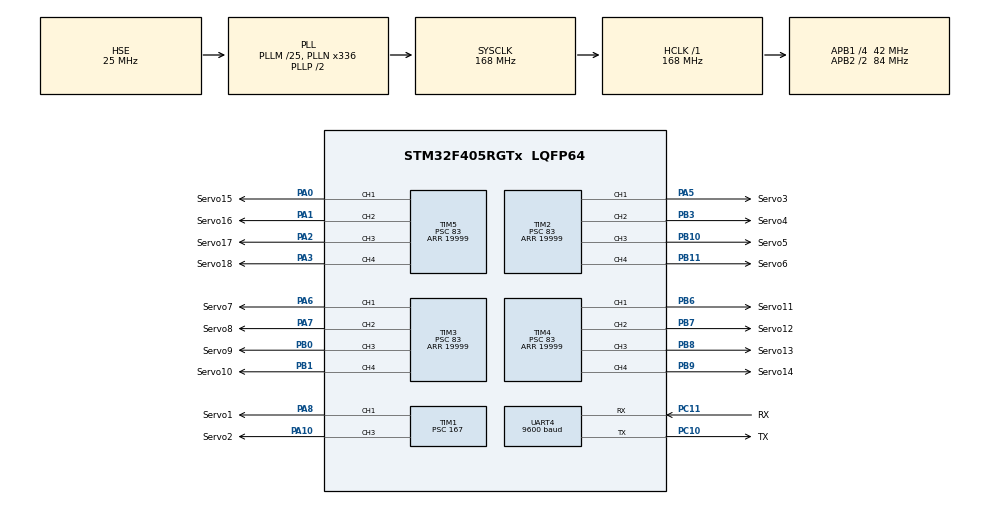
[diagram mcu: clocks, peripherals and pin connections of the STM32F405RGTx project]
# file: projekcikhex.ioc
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Mcu.Family=STM32F4
Mcu.Name=STM32F405RGTx
Mcu.Package=LQFP64
NVIC.PriorityGroup=NVIC_PRIORITYGROUP_4
NVIC.UART4_IRQn=true\:0\:0\:false\:false\:true
PA0-WKUP.GPIO_Label=Servo15
PA0-WKUP.GPIO_Speed=GPIO_SPEED_FREQ_VERY_HIGH
PA0-WKUP.Signal=S_TIM5_CH1
PA1.GPIO_Label=Servo16
PA1.GPIO_Speed=GPIO_SPEED_FREQ_VERY_HIGH
PA1.Signal=S_TIM5_CH2
PA10.GPIO_Label=Servo2
PA10.GPIO_Speed=GPIO_SPEED_FREQ_VERY_HIGH
PA10.Signal=S_TIM1_CH3
PA2.GPIO_Label=Servo17
PA2.GPIO_Speed=GPIO_SPEED_FREQ_VERY_HIGH
PA2.Signal=S_TIM5_CH3
PA3.GPIO_Label=Servo18
PA3.GPIO_Speed=GPIO_SPEED_FREQ_VERY_HIGH
PA3.Signal=S_TIM5_CH4
PA5.GPIO_Label=Servo3
PA5.GPIO_Speed=GPIO_SPEED_FREQ_VERY_HIGH
PA5.Signal=S_TIM2_CH1_ETR
PA6.GPIO_Label=Servo7
PA6.GPIO_Speed=GPIO_SPEED_FREQ_VERY_HIGH
PA6.Signal=S_TIM3_CH1
PA7.GPIO_Label=Servo8
PA7.GPIO_Speed=GPIO_SPEED_FREQ_VERY_HIGH
PA7.Signal=S_TIM3_CH2
PA8.GPIO_Label=Servo1
PA8.GPIO_Speed=GPIO_SPEED_FREQ_VERY_HIGH
PA8.Signal=S_TIM1_CH1
PB0.GPIO_Label=Servo9
PB0.GPIO_Speed=GPIO_SPEED_FREQ_VERY_HIGH
PB0.Signal=S_TIM3_CH3
PB1.GPIO_Label=Servo10
PB1.GPIO_Speed=GPIO_SPEED_FREQ_VERY_HIGH
PB1.Signal=S_TIM3_CH4
PB10.GPIO_Label=Servo5
PB10.GPIO_Speed=GPIO_SPEED_FREQ_VERY_HIGH
PB10.Signal=S_TIM2_CH3
PB11.GPIO_Label=Servo6
PB11.GPIO_Speed=GPIO_SPEED_FREQ_VERY_HIGH
PB11.Signal=S_TIM2_CH4
PB3.GPIO_Label=Servo4
PB3.GPIO_Speed=GPIO_SPEED_FREQ_VERY_HIGH
PB3.Signal=S_TIM2_CH2
PB6.GPIO_Label=Servo11
PB6.GPIO_Speed=GPIO_SPEED_FREQ_VERY_HIGH
PB6.Signal=S_TIM4_CH1
PB7.GPIO_Label=Servo12
PB7.GPIO_Speed=GPIO_SPEED_FREQ_VERY_HIGH
PB7.Signal=S_TIM4_CH2
PB8.GPIO_Label=Servo13
PB8.GPIO_Speed=GPIO_SPEED_FREQ_VERY_HIGH
PB8.Signal=S_TIM4_CH3
PB9.GPIO_Label=Servo14
PB9.GPIO_Speed=GPIO_SPEED_FREQ_VERY_HIGH
PB9.Signal=S_TIM4_CH4
PC10.GPIO_Label=TX
PC10.Mode=Asynchronous
PC10.Signal=UART4_TX
PC11.GPIO_Label=RX
PC11.Mode=Asynchronous
PC11.Signal=UART4_RX
PH0-OSC_IN.Mode=HSE-External-Clock-Source
PH0-OSC_IN.Signal=RCC_OSC_IN
PH1-OSC_OUT.Mode=HSE-External-Clock-Source
PH1-OSC_OUT.Signal=RCC_OSC_OUT
ProjectManager.HeapSize=0x200
ProjectManager.StackSize=0x400
ProjectManager.TargetToolchain=TrueSTUDIO
RCC.48MHZClocksFreq_Value=84000000
RCC.AHBFreq_Value=168000000
RCC.APB1CLKDivider=RCC_HCLK_DIV4
RCC.APB1Freq_Value=42000000
RCC.APB1TimFreq_Value=84000000
RCC.APB2CLKDivider=RCC_HCLK_DIV2
RCC.APB2Freq_Value=84000000
RCC.APB2TimFreq_Value=168000000
RCC.CortexFreq_Value=168000000
RCC.HCLKFreq_Value=168000000
RCC.HSE_VALUE=25000000
RCC.HSI_VALUE=16000000
RCC.LSE_VALUE=32768
RCC.PLLM=25
RCC.PLLN=336
RCC.PLLSourceVirtual=RCC_PLLSOURCE_HSE
RCC.SYSCLKFreq_VALUE=168000000
RCC.SYSCLKSource=RCC_SYSCLKSOURCE_PLLCLK
RCC.VCOOutputFreq_Value=336000000
SH.S_TIM1_CH1.0=TIM1_CH1,PWM Generation1 CH1
SH.S_TIM1_CH3.0=TIM1_CH3,PWM Generation3 CH3
SH.S_TIM2_CH1_ETR.0=TIM2_CH1,PWM Generation1 CH1
SH.S_TIM2_CH2.0=TIM2_CH2,PWM Generation2 CH2
SH.S_TIM2_CH3.0=TIM2_CH3,PWM Generation3 CH3
SH.S_TIM2_CH4.0=TIM2_CH4,PWM Generation4 CH4
SH.S_TIM3_CH1.0=TIM3_CH1,PWM Generation1 CH1
SH.S_TIM3_CH2.0=TIM3_CH2,PWM Generation2 CH2
SH.S_TIM3_CH3.0=TIM3_CH3,PWM Generation3 CH3
SH.S_TIM3_CH4.0=TIM3_CH4,PWM Generation4 CH4
SH.S_TIM4_CH1.0=TIM4_CH1,PWM Generation1 CH1
SH.S_TIM4_CH2.0=TIM4_CH2,PWM Generation2 CH2
SH.S_TIM4_CH3.0=TIM4_CH3,PWM Generation3 CH3
SH.S_TIM4_CH4.0=TIM4_CH4,PWM Generation4 CH4
SH.S_TIM5_CH1.0=TIM5_CH1,PWM Generation1 CH1
SH.S_TIM5_CH2.0=TIM5_CH2,PWM Generation2 CH2
SH.S_TIM5_CH3.0=TIM5_CH3,PWM Generation3 CH3
SH.S_TIM5_CH4.0=TIM5_CH4,PWM Generation4 CH4
TIM1.Channel-PWM\ Generation1\ CH1=TIM_CHANNEL_1
TIM1.Channel-PWM\ Generation3\ CH3=TIM_CHANNEL_3
TIM1.Period=19999
TIM1.Prescaler=167
TIM2.Channel-PWM\ Generation1\ CH1=TIM_CHANNEL_1
TIM2.Channel-PWM\ Generation2\ CH2=TIM_CHANNEL_2
TIM2.Channel-PWM\ Generation3\ CH3=TIM_CHANNEL_3
TIM2.Channel-PWM\ Generation4\ CH4=TIM_CHANNEL_4
TIM2.OCMode_PWM-PWM\ Generation2\ CH2=TIM_OCMODE_PWM1
TIM2.Period=19999
TIM2.Prescaler=83
TIM3.Channel-PWM\ Generation1\ CH1=TIM_CHANNEL_1
TIM3.Channel-PWM\ Generation2\ CH2=TIM_CHANNEL_2
TIM3.Channel-PWM\ Generation3\ CH3=TIM_CHANNEL_3
TIM3.Channel-PWM\ Generation4\ CH4=TIM_CHANNEL_4
TIM3.Period=19999
TIM3.Prescaler=83
TIM4.Channel-PWM\ Generation1\ CH1=TIM_CHANNEL_1
TIM4.Channel-PWM\ Generation2\ CH2=TIM_CHANNEL_2
TIM4.Channel-PWM\ Generation3\ CH3=TIM_CHANNEL_3
TIM4.Channel-PWM\ Generation4\ CH4=TIM_CHANNEL_4
TIM4.Period=19999
TIM4.Prescaler=83
TIM5.Channel-PWM\ Generation1\ CH1=TIM_CHANNEL_1
TIM5.Channel-PWM\ Generation2\ CH2=TIM_CHANNEL_2
TIM5.Channel-PWM\ Generation3\ CH3=TIM_CHANNEL_3
TIM5.Channel-PWM\ Generation4\ CH4=TIM_CHANNEL_4
TIM5.Period=19999
TIM5.Prescaler=83
UART4.BaudRate=9600
UART4.VirtualMode=Asynchronous
board=projekcikhex

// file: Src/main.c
/**
  ******************************************************************************
  * File Name          : main.c
  * Description        : Main program body
  ******************************************************************************
  *
  * COPYRIGHT(c) 2017 STMicroelectronics
  *
  * Redistribution and use in source and binary forms, with or without modification,
  * are permitted provided that the following conditions are met:
  *   1. Redistributions of source code must retain the above copyright notice,
  *      this list of conditions and the following disclaimer.
  *   2. Redistributions in binary form must reproduce the above copyright notice,
  *      this list of conditions and the following disclaimer in the documentation
  *      and/or other materials provided with the distribution.
  *   3. Neither the name of STMicroelectronics nor the names of its contributors
  *      may be used to endorse or promote products derived from this software
  *      without specific prior written permission.
  *
  * THIS SOFTWARE IS PROVIDED BY THE COPYRIGHT HOLDERS AND CONTRIBUTORS "AS IS"
  * AND ANY EXPRESS OR IMPLIED WARRANTIES, INCLUDING, BUT NOT LIMITED TO, THE
  * IMPLIED WARRANTIES OF MERCHANTABILITY AND FITNESS FOR A PARTICULAR PURPOSE ARE
  * DISCLAIMED. IN NO EVENT SHALL THE COPYRIGHT HOLDER OR CONTRIBUTORS BE LIABLE
  * FOR ANY DIRECT, INDIRECT, INCIDENTAL, SPECIAL, EXEMPLARY, OR CONSEQUENTIAL
  * DAMAGES (INCLUDING, BUT NOT LIMITED TO, PROCUREMENT OF SUBSTITUTE GOODS OR
  * SERVICES; LOSS OF USE, DATA, OR PROFITS; OR BUSINESS INTERRUPTION) HOWEVER
  * CAUSED AND ON ANY THEORY OF LIABILITY, WHETHER IN CONTRACT, STRICT LIABILITY,
  * OR TORT (INCLUDING NEGLIGENCE OR OTHERWISE) ARISING IN ANY WAY OUT OF THE USE
  * OF THIS SOFTWARE, EVEN IF ADVISED OF THE POSSIBILITY OF SUCH DAMAGE.
  *
  ******************************************************************************
  */
#include "main.h"
#include "stm32f4xx_hal.h"

TIM_HandleTypeDef htim1;
TIM_HandleTypeDef htim2;
TIM_HandleTypeDef htim3;
TIM_HandleTypeDef htim4;
TIM_HandleTypeDef htim5;

UART_HandleTypeDef huart4;

/* USER CODE BEGIN PV */
/* Private variables ---------------------------------------------------------*/
uint8_t Received;
uint8_t data[50];
uint16_t size = 0;
static int mod_state = 0;
int k=0;
int m=0;
int P=150;
int G=0;
int W=0;
int S=0;
int A=1200;
/* USER CODE END PV */

void SystemClock_Config(void);
void Error_Handler(void);
static void MX_GPIO_Init(void);
static void MX_TIM2_Init(void);
static void MX_TIM3_Init(void);
static void MX_TIM4_Init(void);
static void MX_TIM5_Init(void);
static void MX_TIM1_Init(void);
static void MX_UART4_Init(void);
void HAL_TIM_MspPostInit(TIM_HandleTypeDef *htim);

/* USER CODE BEGIN PFP */
/* Private function prototypes -----------------------------------------------*/
void HAL_UART_RxCpltCallback(UART_HandleTypeDef *huart)
	{
	if (mod_state ==  0) {
	k = atoi(&Received);
	HAL_UART_Receive_IT(&huart4, &Received, 1);
	} else if (mod_state == 1) {
	m = atoi(&Received);
	HAL_UART_Receive_IT(&huart4, &Received, 1);
	}
	mod_state = (mod_state + 1) % 2;
	}
/* USER CODE END PFP */

int main(void)
{

  /* MCU Configuration----------------------------------------------------------*/

  /* Reset of all peripherals, Initializes the Flash interface and the Systick. */
  HAL_Init();

  /* Configure the system clock */
  SystemClock_Config();

  /* Initialize all configured peripherals */
  MX_GPIO_Init();
  MX_TIM2_Init();
  MX_TIM3_Init();
  MX_TIM4_Init();
  MX_TIM5_Init();
  MX_TIM1_Init();
  MX_UART4_Init();

  /* USER CODE BEGIN 2 */

  HAL_TIM_PWM_Start(&htim5, TIM_CHANNEL_4);
  HAL_TIM_PWM_Start(&htim5, TIM_CHANNEL_3);
  HAL_TIM_PWM_Start(&htim5, TIM_CHANNEL_2);
  HAL_TIM_PWM_Start(&htim5, TIM_CHANNEL_1);
  HAL_TIM_PWM_Start(&htim4, TIM_CHANNEL_4);
  HAL_TIM_PWM_Start(&htim4, TIM_CHANNEL_3);
  HAL_TIM_PWM_Start(&htim4, TIM_CHANNEL_2);
  HAL_TIM_PWM_Start(&htim4, TIM_CHANNEL_1);
  HAL_TIM_PWM_Start(&htim3, TIM_CHANNEL_4);
  HAL_TIM_PWM_Start(&htim3, TIM_CHANNEL_3);
  HAL_TIM_PWM_Start(&htim3, TIM_CHANNEL_2);
  HAL_TIM_PWM_Start(&htim3, TIM_CHANNEL_1);
  HAL_TIM_PWM_Start(&htim2, TIM_CHANNEL_4);
  HAL_TIM_PWM_Start(&htim2, TIM_CHANNEL_3);
  HAL_TIM_PWM_Start(&htim2, TIM_CHANNEL_2);
  HAL_TIM_PWM_Start(&htim2, TIM_CHANNEL_1);
  HAL_TIM_PWM_Start(&htim1, TIM_CHANNEL_3);
  HAL_TIM_PWM_Start(&htim1, TIM_CHANNEL_1);
  HAL_UART_Receive_IT(&huart4, &Received, 1);
  /* USER CODE END 2 */

  /* Infinite loop */
  /* USER CODE BEGIN WHILE */
  while (1)
  {
if(k==0 && m==0)
 {
  TIM5->CCR4 = 1300;
  TIM5->CCR3 = 1545-G;
  TIM5->CCR2 = 1325-G;
  TIM5->CCR1 = 1500;
  TIM4->CCR4 = 1300-G;
  TIM4->CCR3 = 1300-G;
  TIM4->CCR2 = 1600;
  TIM4->CCR1 = 1250-G;
  TIM3->CCR4 = 1180-G;
  TIM3->CCR3 = 1550+G;
  TIM3->CCR2 = 1670+G;
  TIM3->CCR1 = 1350;
  TIM2->CCR4 = 1500+G;
  TIM2->CCR3 = 1600+G;
  TIM2->CCR2 = 1500;
  TIM2->CCR1 = 1550+G;
  TIM1->CCR3 = 1475+G;
  TIM1->CCR1 = 1550;
  HAL_Delay(P+100);
 }

if(k==0 && m==1)
   { // Krok do przodu
	//Sekwencja 1
	TIM2->CCR3 = 1900+G+W;
	TIM5->CCR3 = 1195-G-W;
	TIM4->CCR1 = 950-G-W;
	HAL_Delay(P);
	TIM2->CCR2 = 1100-S;
	TIM5->CCR4 = 1600+S;
	TIM4->CCR2 = 1900+S;
	HAL_Delay(P);
	TIM2->CCR3 = 1600+G;
	TIM5->CCR3 = 1545-G;
	TIM4->CCR1 = 1250-G;
	HAL_Delay(P);
	//Sekwencja 2
	TIM1->CCR3 = 1825+G+W;
	TIM3->CCR2 = 1920+G+W;
	TIM4->CCR4 = 1050-G-W;
	HAL_Delay(P);
	TIM1->CCR1 = 1200-S;
	TIM3->CCR1 = 1000-S;
	TIM5->CCR1 = 1850+S;
	HAL_Delay(P);
	TIM1->CCR3 = 1475+G;
	TIM3->CCR2 = 1670+G;
	TIM4->CCR4 = 1350-G;
	HAL_Delay(P);
	 //Reset nog
	k=0;
	m=0;
   }

  if(k==0 && m==2)
	{ //Krok w lewo
	 //Sekwencja 1
	 TIM2->CCR3 = 1900+G+W;
	 TIM5->CCR3 = 1195-G-W;
	 TIM4->CCR1 = 950-G-W;
	 HAL_Delay(P);
	 TIM2->CCR2 = 1900+S;
	 TIM5->CCR4 = 1600+S;
	 TIM4->CCR2 = 1900+S;
	 HAL_Delay(P);
	 TIM2->CCR3 = 1600+G;
	 TIM5->CCR3 = 1545-G;
	 TIM4->CCR1 = 1250-G;
	 HAL_Delay(P);
	 //Sekwencja 2
	 TIM1->CCR3 = 1825+G+W;
	 TIM3->CCR2 = 1920+G+W;
	 TIM4->CCR4 = 1050-G-W;
	 HAL_Delay(P);
	 TIM1->CCR1 = 2000+S;
	 TIM3->CCR1 = 1700+S;
	 TIM5->CCR1 = 1850+S;
	 HAL_Delay(P);
	 TIM1->CCR3 = 1475+G;
	 TIM3->CCR2 = 1670+G;
	 TIM4->CCR4 = 1350-G;
	 HAL_Delay(P);
	 //Reset nog
	 k=0;
	 m=0;
	}

  if(k==0 && m==3)
	 { //Krok w prawo
	 //Sekwencja 1
	 TIM2->CCR3 = 1900+G+W;
	 TIM5->CCR3 = 1195-G-W;
	 TIM4->CCR1 = 950-G-W;
	 HAL_Delay(P);
	 TIM2->CCR2 = 1100-S;
	 TIM5->CCR4 = 1000-S;
	 TIM4->CCR2 = 1300-S;
	 HAL_Delay(P);
	 TIM2->CCR3 = 1600+G;
	 TIM5->CCR3 = 1545-G;
	 TIM4->CCR1 = 1250-G;
	 HAL_Delay(P);
	  //Sekwencja 2
	 TIM1->CCR3 = 1825+G+W;
	 TIM3->CCR2 = 1920+G+W;
	 TIM4->CCR4 = 1050-G-W;
	 HAL_Delay(P);
	 TIM1->CCR1 = 1200-S;
	 TIM3->CCR1 = 1000-S;
	 TIM5->CCR1 = 1150-S;
	 HAL_Delay(P);
	 TIM1->CCR3 = 1475+G;
	 TIM3->CCR2 = 1670+G;
	 TIM4->CCR4 = 1350-G;
	 HAL_Delay(P);
	 //Reset nog
	 k=0;
	 m=0;
	 }

  if(k==0 && m==4)
	 {
	  if(P>=100)
	  {
		  P=P-5;
	  }
	  else
	  {
		  P=100;
	  }
	  size = sprintf(data, "%d.\n\r", P);
	  HAL_UART_Transmit_IT(&huart4, data, size);
		  k=0;
		  m=0;
	 }

  if(k==0 && m==5)
	{
	if(P>=100)
	{
	P=P+5;
	}
	else
	{
	P=100;
	}
	size = sprintf(data, "%d.\n\r", P);
	HAL_UART_Transmit_IT(&huart4, data, size);
	k=0;
	m=0;
	}
  if(k==0 && m==6)
	{
	G=G-25;
	size = sprintf(data, "%d.\n\r", G);
	HAL_UART_Transmit_IT(&huart4, data, size);
	k=0;
	m=0;
	}
  if(k==0 && m==7)
	{
	G=G+25;
	if(G>=50)
	{
	G=50;
	}
	size = sprintf(data, "%d.\n\r", G);
	HAL_UART_Transmit_IT(&huart4, data, size);
	k=0;
	m=0;
	}

  if(k==0 && m==8)
  {
	TIM3->CCR2 = 1740+300;
	HAL_Delay(200);
	TIM3->CCR3 = 1600-A;
	HAL_Delay(300);
	TIM3->CCR3 = 1600+A;
	HAL_Delay(300);
	TIM3->CCR3 = 1600-A;
	HAL_Delay(300);
	TIM3->CCR3 = 1600+A;
	HAL_Delay(300);
	TIM3->CCR3 = 1600-A;
	HAL_Delay(300);
	TIM3->CCR3 = 1600+A;
	HAL_Delay(300);
	TIM3->CCR3 = 1600-A;
	k=0;
	m=0;

  }
  if(k==0 && m==9)
  {
 	 S=S+25;
 	 size = sprintf(data, "%d.\n\r", S);
 	 HAL_UART_Transmit_IT(&huart4, data, size);
 	 k=0;
 	 m=0;
 }
  if(k==1 && m==0)
   {
  	 S=S-25;
  	 size = sprintf(data, "%d.\n\r", S);
  	 HAL_UART_Transmit_IT(&huart4, data, size);
  	 k=0;
  	 m=0;
  }
  if(k==1 && m==1)
  {
 	 W=W+25;
 	 size = sprintf(data, "%d.\n\r", W);
 	 HAL_UART_Transmit_IT(&huart4, data, size);
 	 k=0;
 	 m=0;
 }
  if(k==1 && m==2)
   {
  	 W=W-25;
  	 size = sprintf(data, "%d.\n\r", W);
  	 HAL_UART_Transmit_IT(&huart4, data, size);
  	 k=0;
  	 m=0;
  }

  /* USER CODE END WHILE */

  }

}

/** System Clock Configuration
*/
void SystemClock_Config(void)
{

  RCC_OscInitTypeDef RCC_OscInitStruct;
  RCC_ClkInitTypeDef RCC_ClkInitStruct;

    /**Configure the main internal regulator output voltage
    */
  __HAL_RCC_PWR_CLK_ENABLE();

  __HAL_PWR_VOLTAGESCALING_CONFIG(PWR_REGULATOR_VOLTAGE_SCALE1);

    /**Initializes the CPU, AHB and APB busses clocks
    */
  RCC_OscInitStruct.OscillatorType = RCC_OSCILLATORTYPE_HSE;
  RCC_OscInitStruct.HSEState = RCC_HSE_BYPASS;
  RCC_OscInitStruct.PLL.PLLState = RCC_PLL_ON;
  RCC_OscInitStruct.PLL.PLLSource = RCC_PLLSOURCE_HSE;
  RCC_OscInitStruct.PLL.PLLM = 25;
  RCC_OscInitStruct.PLL.PLLN = 336;
  RCC_OscInitStruct.PLL.PLLP = RCC_PLLP_DIV2;
  RCC_OscInitStruct.PLL.PLLQ = 4;
  if (HAL_RCC_OscConfig(&RCC_OscInitStruct) != HAL_OK)
  {
    Error_Handler();
  }

    /**Initializes the CPU, AHB and APB busses clocks
    */
  RCC_ClkInitStruct.ClockType = RCC_CLOCKTYPE_HCLK|RCC_CLOCKTYPE_SYSCLK
                              |RCC_CLOCKTYPE_PCLK1|RCC_CLOCKTYPE_PCLK2;
  RCC_ClkInitStruct.SYSCLKSource = RCC_SYSCLKSOURCE_PLLCLK;
  RCC_ClkInitStruct.AHBCLKDivider = RCC_SYSCLK_DIV1;
  RCC_ClkInitStruct.APB1CLKDivider = RCC_HCLK_DIV4;
  RCC_ClkInitStruct.APB2CLKDivider = RCC_HCLK_DIV2;

  if (HAL_RCC_ClockConfig(&RCC_ClkInitStruct, FLASH_LATENCY_5) != HAL_OK)
  {
    Error_Handler();
  }

    /**Configure the Systick interrupt time
    */
  HAL_SYSTICK_Config(HAL_RCC_GetHCLKFreq()/1000);

    /**Configure the Systick
    */
  HAL_SYSTICK_CLKSourceConfig(SYSTICK_CLKSOURCE_HCLK);

  /* SysTick_IRQn interrupt configuration */
  HAL_NVIC_SetPriority(SysTick_IRQn, 0, 0);
}

/* TIM1 init function */
static void MX_TIM1_Init(void)
{

  TIM_MasterConfigTypeDef sMasterConfig;
  TIM_OC_InitTypeDef sConfigOC;
  TIM_BreakDeadTimeConfigTypeDef sBreakDeadTimeConfig;

  htim1.Instance = TIM1;
  htim1.Init.Prescaler = 167;
  htim1.Init.CounterMode = TIM_COUNTERMODE_UP;
  htim1.Init.Period = 19999;
  htim1.Init.ClockDivision = TIM_CLOCKDIVISION_DIV1;
  htim1.Init.RepetitionCounter = 0;
  if (HAL_TIM_PWM_Init(&htim1) != HAL_OK)
  {
    Error_Handler();
  }

  sMasterConfig.MasterOutputTrigger = TIM_TRGO_RESET;
  sMasterConfig.MasterSlaveMode = TIM_MASTERSLAVEMODE_DISABLE;
  if (HAL_TIMEx_MasterConfigSynchronization(&htim1, &sMasterConfig) != HAL_OK)
  {
    Error_Handler();
  }

  sConfigOC.OCMode = TIM_OCMODE_PWM1;
  sConfigOC.Pulse = 0;
  sConfigOC.OCPolarity = TIM_OCPOLARITY_HIGH;
  sConfigOC.OCNPolarity = TIM_OCNPOLARITY_HIGH;
  sConfigOC.OCFastMode = TIM_OCFAST_DISABLE;
  sConfigOC.OCIdleState = TIM_OCIDLESTATE_RESET;
  sConfigOC.OCNIdleState = TIM_OCNIDLESTATE_RESET;
  if (HAL_TIM_PWM_ConfigChannel(&htim1, &sConfigOC, TIM_CHANNEL_1) != HAL_OK)
  {
    Error_Handler();
  }

  if (HAL_TIM_PWM_ConfigChannel(&htim1, &sConfigOC, TIM_CHANNEL_3) != HAL_OK)
  {
    Error_Handler();
  }

  sBreakDeadTimeConfig.OffStateRunMode = TIM_OSSR_DISABLE;
  sBreakDeadTimeConfig.OffStateIDLEMode = TIM_OSSI_DISABLE;
  sBreakDeadTimeConfig.LockLevel = TIM_LOCKLEVEL_OFF;
  sBreakDeadTimeConfig.DeadTime = 0;
  sBreakDeadTimeConfig.BreakState = TIM_BREAK_DISABLE;
  sBreakDeadTimeConfig.BreakPolarity = TIM_BREAKPOLARITY_HIGH;
  sBreakDeadTimeConfig.AutomaticOutput = TIM_AUTOMATICOUTPUT_DISABLE;
  if (HAL_TIMEx_ConfigBreakDeadTime(&htim1, &sBreakDeadTimeConfig) != HAL_OK)
  {
    Error_Handler();
  }

  HAL_TIM_MspPostInit(&htim1);

}

/* TIM2 init function */
static void MX_TIM2_Init(void)
{

  TIM_MasterConfigTypeDef sMasterConfig;
  TIM_OC_InitTypeDef sConfigOC;

  htim2.Instance = TIM2;
  htim2.Init.Prescaler = 83;
  htim2.Init.CounterMode = TIM_COUNTERMODE_UP;
  htim2.Init.Period = 19999;
  htim2.Init.ClockDivision = TIM_CLOCKDIVISION_DIV1;
  if (HAL_TIM_PWM_Init(&htim2) != HAL_OK)
  {
    Error_Handler();
  }

  sMasterConfig.MasterOutputTrigger = TIM_TRGO_RESET;
  sMasterConfig.MasterSlaveMode = TIM_MASTERSLAVEMODE_DISABLE;
  if (HAL_TIMEx_MasterConfigSynchronization(&htim2, &sMasterConfig) != HAL_OK)
  {
    Error_Handler();
  }

  sConfigOC.OCMode = TIM_OCMODE_PWM1;
  sConfigOC.Pulse = 0;
  sConfigOC.OCPolarity = TIM_OCPOLARITY_HIGH;
  sConfigOC.OCFastMode = TIM_OCFAST_DISABLE;
  if (HAL_TIM_PWM_ConfigChannel(&htim2, &sConfigOC, TIM_CHANNEL_1) != HAL_OK)
  {
    Error_Handler();
  }

  if (HAL_TIM_PWM_ConfigChannel(&htim2, &sConfigOC, TIM_CHANNEL_2) != HAL_OK)
  {
    Error_Handler();
  }

  if (HAL_TIM_PWM_ConfigChannel(&htim2, &sConfigOC, TIM_CHANNEL_3) != HAL_OK)
  {
    Error_Handler();
  }

  if (HAL_TIM_PWM_ConfigChannel(&htim2, &sConfigOC, TIM_CHANNEL_4) != HAL_OK)
  {
    Error_Handler();
  }

  HAL_TIM_MspPostInit(&htim2);

}

/* TIM3 init function */
static void MX_TIM3_Init(void)
{

  TIM_MasterConfigTypeDef sMasterConfig;
  TIM_OC_InitTypeDef sConfigOC;

  htim3.Instance = TIM3;
  htim3.Init.Prescaler = 83;
  htim3.Init.CounterMode = TIM_COUNTERMODE_UP;
  htim3.Init.Period = 19999;
  htim3.Init.ClockDivision = TIM_CLOCKDIVISION_DIV1;
  if (HAL_TIM_PWM_Init(&htim3) != HAL_OK)
  {
    Error_Handler();
  }

  sMasterConfig.MasterOutputTrigger = TIM_TRGO_RESET;
  sMasterConfig.MasterSlaveMode = TIM_MASTERSLAVEMODE_DISABLE;
  if (HAL_TIMEx_MasterConfigSynchronization(&htim3, &sMasterConfig) != HAL_OK)
  {
    Error_Handler();
  }

  sConfigOC.OCMode = TIM_OCMODE_PWM1;
  sConfigOC.Pulse = 0;
  sConfigOC.OCPolarity = TIM_OCPOLARITY_HIGH;
  sConfigOC.OCFastMode = TIM_OCFAST_DISABLE;
  if (HAL_TIM_PWM_ConfigChannel(&htim3, &sConfigOC, TIM_CHANNEL_1) != HAL_OK)
  {
    Error_Handler();
  }

  if (HAL_TIM_PWM_ConfigChannel(&htim3, &sConfigOC, TIM_CHANNEL_2) != HAL_OK)
  {
    Error_Handler();
  }

  if (HAL_TIM_PWM_ConfigChannel(&htim3, &sConfigOC, TIM_CHANNEL_3) != HAL_OK)
  {
    Error_Handler();
  }

  if (HAL_TIM_PWM_ConfigChannel(&htim3, &sConfigOC, TIM_CHANNEL_4) != HAL_OK)
  {
    Error_Handler();
  }

  HAL_TIM_MspPostInit(&htim3);

}

/* TIM4 init function */
static void MX_TIM4_Init(void)
{

  TIM_MasterConfigTypeDef sMasterConfig;
  TIM_OC_InitTypeDef sConfigOC;

  htim4.Instance = TIM4;
  htim4.Init.Prescaler = 83;
  htim4.Init.CounterMode = TIM_COUNTERMODE_UP;
  htim4.Init.Period = 19999;
  htim4.Init.ClockDivision = TIM_CLOCKDIVISION_DIV1;
  if (HAL_TIM_PWM_Init(&htim4) != HAL_OK)
  {
    Error_Handler();
  }

  sMasterConfig.MasterOutputTrigger = TIM_TRGO_RESET;
  sMasterConfig.MasterSlaveMode = TIM_MASTERSLAVEMODE_DISABLE;
  if (HAL_TIMEx_MasterConfigSynchronization(&htim4, &sMasterConfig) != HAL_OK)
  {
    Error_Handler();
  }

  sConfigOC.OCMode = TIM_OCMODE_PWM1;
  sConfigOC.Pulse = 0;
  sConfigOC.OCPolarity = TIM_OCPOLARITY_HIGH;
  sConfigOC.OCFastMode = TIM_OCFAST_DISABLE;
  if (HAL_TIM_PWM_ConfigChannel(&htim4, &sConfigOC, TIM_CHANNEL_1) != HAL_OK)
  {
    Error_Handler();
  }

  if (HAL_TIM_PWM_ConfigChannel(&htim4, &sConfigOC, TIM_CHANNEL_2) != HAL_OK)
  {
    Error_Handler();
  }

  if (HAL_TIM_PWM_ConfigChannel(&htim4, &sConfigOC, TIM_CHANNEL_3) != HAL_OK)
  {
    Error_Handler();
  }

  if (HAL_TIM_PWM_ConfigChannel(&htim4, &sConfigOC, TIM_CHANNEL_4) != HAL_OK)
  {
    Error_Handler();
  }

  HAL_TIM_MspPostInit(&htim4);

}

/* TIM5 init function */
static void MX_TIM5_Init(void)
{

  TIM_MasterConfigTypeDef sMasterConfig;
  TIM_OC_InitTypeDef sConfigOC;

  htim5.Instance = TIM5;
  htim5.Init.Prescaler = 83;
  htim5.Init.CounterMode = TIM_COUNTERMODE_UP;
  htim5.Init.Period = 19999;
  htim5.Init.ClockDivision = TIM_CLOCKDIVISION_DIV1;
  if (HAL_TIM_PWM_Init(&htim5) != HAL_OK)
  {
    Error_Handler();
  }

  sMasterConfig.MasterOutputTrigger = TIM_TRGO_RESET;
  sMasterConfig.MasterSlaveMode = TIM_MASTERSLAVEMODE_DISABLE;
  if (HAL_TIMEx_MasterConfigSynchronization(&htim5, &sMasterConfig) != HAL_OK)
  {
    Error_Handler();
  }

  sConfigOC.OCMode = TIM_OCMODE_PWM1;
  sConfigOC.Pulse = 0;
  sConfigOC.OCPolarity = TIM_OCPOLARITY_HIGH;
  sConfigOC.OCFastMode = TIM_OCFAST_DISABLE;
  if (HAL_TIM_PWM_ConfigChannel(&htim5, &sConfigOC, TIM_CHANNEL_1) != HAL_OK)
  {
    Error_Handler();
  }

  if (HAL_TIM_PWM_ConfigChannel(&htim5, &sConfigOC, TIM_CHANNEL_2) != HAL_OK)
  {
    Error_Handler();
  }

  if (HAL_TIM_PWM_ConfigChannel(&htim5, &sConfigOC, TIM_CHANNEL_3) != HAL_OK)
  {
    Error_Handler();
  }

  if (HAL_TIM_PWM_ConfigChannel(&htim5, &sConfigOC, TIM_CHANNEL_4) != HAL_OK)
  {
    Error_Handler();
  }

  HAL_TIM_MspPostInit(&htim5);

}

/* UART4 init function */
static void MX_UART4_Init(void)
{

  huart4.Instance = UART4;
  huart4.Init.BaudRate = 9600;
  huart4.Init.WordLength = UART_WORDLENGTH_8B;
  huart4.Init.StopBits = UART_STOPBITS_1;
  huart4.Init.Parity = UART_PARITY_NONE;
  huart4.Init.Mode = UART_MODE_TX_RX;
  huart4.Init.HwFlowCtl = UART_HWCONTROL_NONE;
  huart4.Init.OverSampling = UART_OVERSAMPLING_16;
  if (HAL_UART_Init(&huart4) != HAL_OK)
  {
    Error_Handler();
  }

}

/** Configure pins as
        * Analog
        * Input
        * Output
        * EVENT_OUT
        * EXTI
*/
static void MX_GPIO_Init(void)
{

  /* GPIO Ports Clock Enable */
  __HAL_RCC_GPIOH_CLK_ENABLE();
  __HAL_RCC_GPIOA_CLK_ENABLE();
  __HAL_RCC_GPIOB_CLK_ENABLE();
  __HAL_RCC_GPIOC_CLK_ENABLE();

}

void Error_Handler(void)
{
  while(1)
  {
  }
}

/************************ (C) COPYRIGHT STMicroelectronics *****END OF FILE****/
